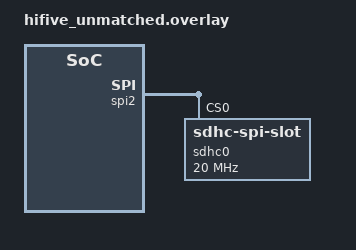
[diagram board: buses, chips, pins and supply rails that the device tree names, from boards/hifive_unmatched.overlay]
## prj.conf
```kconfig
CONFIG_FILE_SYSTEM=y
CONFIG_FILE_SYSTEM_EXT2=y
CONFIG_FILE_SYSTEM_MKFS=y

CONFIG_DISK_ACCESS=y
CONFIG_DISK_DRIVER_RAM=y
CONFIG_DISK_RAM_VOLUME_SIZE=200

CONFIG_TEST_RANDOM_GENERATOR=y

CONFIG_ZTEST=y
CONFIG_ZTEST_NEW_API=y
CONFIG_ZTEST_STACK_SIZE=4096
```

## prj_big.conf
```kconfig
CONFIG_FILE_SYSTEM=y
CONFIG_FILE_SYSTEM_EXT2=y
CONFIG_FILE_SYSTEM_MKFS=y

CONFIG_DISK_ACCESS=y
CONFIG_DISK_DRIVER_RAM=y
CONFIG_DISK_RAM_VOLUME_SIZE=9000

CONFIG_EXT2_MAX_BLOCK_COUNT=20

CONFIG_TEST_RANDOM_GENERATOR=y

CONFIG_ZTEST=y
CONFIG_ZTEST_NEW_API=y
CONFIG_ZTEST_STACK_SIZE=4096

CONFIG_APP_TEST_BIG=y
```

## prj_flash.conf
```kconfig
CONFIG_FILE_SYSTEM=y
CONFIG_FILE_SYSTEM_EXT2=y
CONFIG_FILE_SYSTEM_MKFS=y

CONFIG_DISK_ACCESS=y
CONFIG_DISK_DRIVER_FLASH=y

CONFIG_TEST_RANDOM_GENERATOR=y

CONFIG_ZTEST=y
CONFIG_ZTEST_NEW_API=y
CONFIG_ZTEST_STACK_SIZE=4096
```

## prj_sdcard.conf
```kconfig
CONFIG_FILE_SYSTEM=y
CONFIG_FILE_SYSTEM_EXT2=y
CONFIG_FILE_SYSTEM_MKFS=y

CONFIG_SPI=y

CONFIG_DISK_ACCESS=y
CONFIG_DISK_DRIVER_SDMMC=y

CONFIG_EXT2_DISK_STARTING_SECTOR=34

CONFIG_TEST_RANDOM_GENERATOR=y

CONFIG_ZTEST=y
CONFIG_ZTEST_NEW_API=y
CONFIG_ZTEST_STACK_SIZE=4096
```

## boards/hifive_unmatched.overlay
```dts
/*
 * Copyright (c) 2023 Antmicro
 *
 * SPDX-License-Identifier: Apache-2.0
 */

&spi2 {
        status = "okay";

        sdhc0: sdhc@0 {
                compatible = "zephyr,sdhc-spi-slot";
                reg = <0>;
                status = "okay";
                mmc {
                    compatible = "zephyr,sdmmc-disk";
                    status = "okay";
                };
                spi-max-frequency = <20000000>;
        };
};
```

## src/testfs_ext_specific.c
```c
/*
 * Copyright (c) 2023 Antmicro
 *
 * SPDX-License-Identifier: Apache-2.0
 */

#include <zephyr/ztest.h>
#include <zephyr/fs/fs.h>
#include <zephyr/fs/ext2.h>
#include "utils.h"
#include "../../common/test_fs_util.h"

uint32_t calculate_blocks(uint32_t freeb, uint32_t B)
{
	uint32_t blocks = 0;

	if (freeb <= 12) {
		return freeb;
	}

	blocks += 12;
	freeb -= 12 + 1; /* direct blocks + top block of first level table */

	if (freeb <= B) {
		return blocks + freeb;
	}

	blocks += B;
	freeb -= B + 1; /* 1st level blocks + top block of second level table */

	if (freeb <= B * (B + 1)) {
		uint32_t n = freeb / (B + 1);
		uint32_t r = freeb % (B + 1);
		uint32_t partial = r > 0 ? 1 : 0;

		return blocks + n * B + r - partial;
	}
	return blocks;
	/* TODO: revisit this and extend when 3rd level blocks will be possible */
}

void writing_test(struct ext2_cfg *config)
{
	int64_t ret = 0;
	struct fs_file_t file;
	struct fs_statvfs sbuf;
	struct fs_dirent entry;
	struct fs_mount_t *mp = &testfs_mnt;
	static const char *file_path = "/sml/file";

	ret = fs_mkfs(FS_EXT2, (uintptr_t)mp->storage_dev, config, 0);
	zassert_equal(ret, 0, "Failed to mkfs with 2K blocks");

	mp->flags = FS_MOUNT_FLAG_NO_FORMAT;
	ret = fs_mount(mp);
	zassert_equal(ret, 0, "Mount failed (ret=%d)", ret);

	fs_file_t_init(&file);
	ret = fs_open(&file, file_path, FS_O_RDWR | FS_O_CREATE);
	zassert_equal(ret, 0, "File open failed (ret=%d)", ret);

	ret = fs_statvfs(mp->mnt_point, &sbuf);
	zassert_equal(ret, 0, "Expected success (ret=%d)", ret);


	/* Calculate how many numbers will be written (use all available memory) */
	uint32_t freeb = sbuf.f_bfree;
	uint32_t bsize = sbuf.f_bsize;
	uint32_t available_blocks = calculate_blocks(freeb, bsize / sizeof(uint32_t));

	uint32_t bytes_to_write = bsize * available_blocks;

	TC_PRINT("Available blocks: %d\nBlock size: %d\nBytes_to_write: %d\n",
			available_blocks, bsize, bytes_to_write);

	ret = testfs_write_incrementing(&file, 0, available_blocks * bsize);
	zassert_equal(ret, bytes_to_write, "Different number of bytes written %ld (expected %ld)",
			ret, bytes_to_write);

	ret = fs_close(&file);
	zassert_equal(ret, 0, "File close failed (ret=%d)", ret);


	/* Check file size */
	ret = fs_stat(file_path, &entry);
	zassert_equal(ret, 0, "File stat failed (ret=%d)", ret);
	zassert_equal(entry.size, bytes_to_write,
			"Wrong file size %d (expected %d)", entry.size,
			bytes_to_write);

	fs_file_t_init(&file);
	ret = fs_open(&file, file_path, FS_O_READ);
	zassert_equal(ret, 0, "File open failed (ret=%d)", ret);


	ret = testfs_verify_incrementing(&file, 0, available_blocks * bsize);
	zassert_equal(ret, bytes_to_write, "Different number of bytes read %ld (expected %ld)",
			ret, bytes_to_write);

	ret = fs_close(&file);
	zassert_equal(ret, 0, "File close failed (ret=%d)", ret);

	uint32_t new_size = bytes_to_write;

	while (new_size > 1) {
		new_size = new_size / 8 * 3;

		TC_PRINT("Truncating to %d\n", new_size);

		ret = fs_open(&file, file_path, FS_O_RDWR);
		zassert_equal(ret, 0, "File open failed (ret=%d)", ret);

		ret = fs_truncate(&file, new_size);
		zassert_equal(ret, 0, "File truncate failed (ret=%d)", ret);

		ret = fs_stat(file_path, &entry);
		zassert_equal(ret, 0, "File stat failed (ret=%d)", ret);
		zassert_equal(entry.size, new_size,
				"Wrong file size %d (expected %d)", entry.size, new_size);

		ret = fs_seek(&file, 0, FS_SEEK_SET);
		zassert_equal(ret, 0, "File seek failed (ret=%d)", ret);

		ret = testfs_verify_incrementing(&file, 0, new_size);
		zassert_equal(ret, new_size, "Different number of bytes read %ld (expected %ld)",
				ret, new_size);

		ret = fs_close(&file);
		zassert_equal(ret, 0, "File close failed (ret=%d)", ret);
	}

	ret = fs_unmount(mp);
	zassert_equal(ret, 0, "Unmount failed (ret=%d)", ret);
}

ZTEST(ext2tests, test_write_big_file)
{
	writing_test(NULL);
}

#if defined(CONFIG_APP_TEST_BIG)
ZTEST(ext2tests, test_write_big_file_2K)
{
	struct ext2_cfg config = {
		.block_size = 2048,
		.fs_size = 0x2000000,
		.bytes_per_inode = 0,
		.volume_name[0] = 0,
		.set_uuid = false,
	};

	writing_test(&config);
}

ZTEST(ext2tests, test_write_big_file_4K)
{
	struct ext2_cfg config = {
		.block_size = 4096,
		.fs_size = 0x8000000,
		.bytes_per_inode = 0,
		.volume_name[0] = 0,
		.set_uuid = false,
	};

	writing_test(&config);
}
#endif
```

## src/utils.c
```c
/*
 * Copyright (c) 2023 Antmicro
 *
 * SPDX-License-Identifier: Apache-2.0
 */

#include <zephyr/ztest.h>
#include <zephyr/fs/fs.h>
#include <zephyr/storage/disk_access.h>

#include "utils.h"

static int sectors_info(const char *disk, uint32_t *ss, uint32_t *sc)
{
	int rc;

	rc = disk_access_ioctl(disk, DISK_IOCTL_GET_SECTOR_COUNT, sc);
	if (rc < 0) {
		TC_PRINT("Disk access (sector count) error: %d", rc);
		return rc;
	}

	rc = disk_access_ioctl(disk, DISK_IOCTL_GET_SECTOR_SIZE, ss);
	if (rc < 0) {
		TC_PRINT("Disk access (sector size) error: %d", rc);
		return rc;
	}

	return 0;
}

int wipe_partition(uintptr_t id)
{
	int rc;
	const char *name = (const char *)id;
	uint32_t sector_count, sector_size;

	TC_PRINT("Wiping %s\n", name);

	rc = disk_access_init(name);
	if (rc < 0) {
		return rc;
	}

	rc = sectors_info(name, &sector_size, &sector_count);
	if (rc < 0) {
		return rc;
	}

	uint8_t zeros[sector_size];

	memset(zeros, 0, sector_size);

	/* Superblock is located at offset 1024B and has size 1024B */
	uint32_t start_sector = CONFIG_EXT2_DISK_STARTING_SECTOR + 1024 / sector_size;
	uint32_t num_sectors = 1024 / sector_size + (1024 % sector_size != 0);

	for (uint32_t i = 0; i < num_sectors; i++) {
		rc = disk_access_write(name, zeros, start_sector + i, 1);
		if (rc < 0) {
			return rc;
		}
	}

	return 0;
}

size_t get_partition_size(uintptr_t id)
{
	const char *name = (const char *)id;
	uint32_t sector_count, sector_size;

	sectors_info(name, &sector_size, &sector_count);

	return sector_size * sector_count;
}
```
